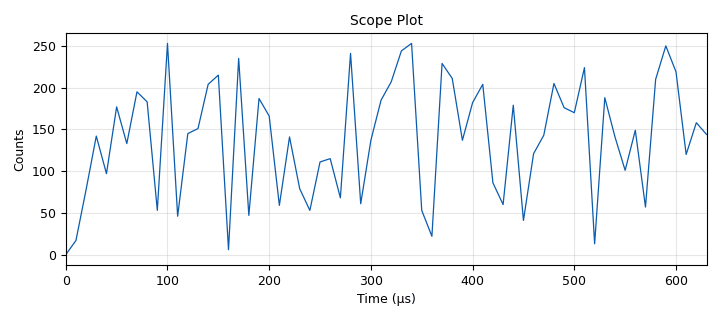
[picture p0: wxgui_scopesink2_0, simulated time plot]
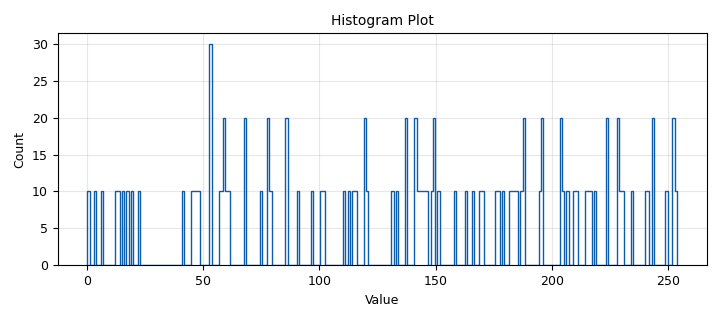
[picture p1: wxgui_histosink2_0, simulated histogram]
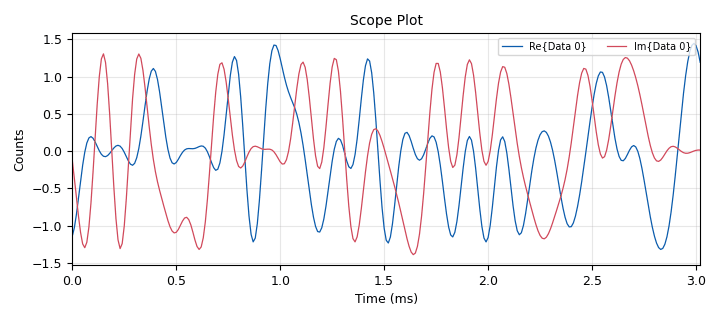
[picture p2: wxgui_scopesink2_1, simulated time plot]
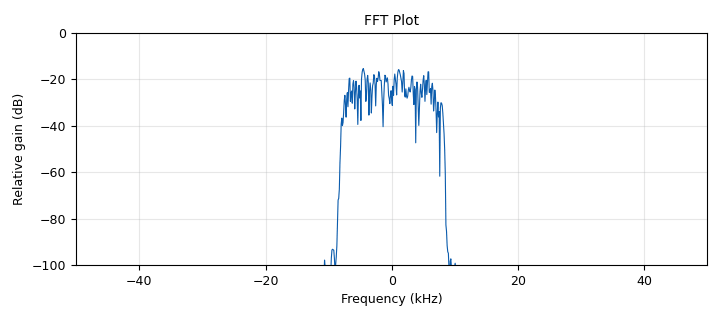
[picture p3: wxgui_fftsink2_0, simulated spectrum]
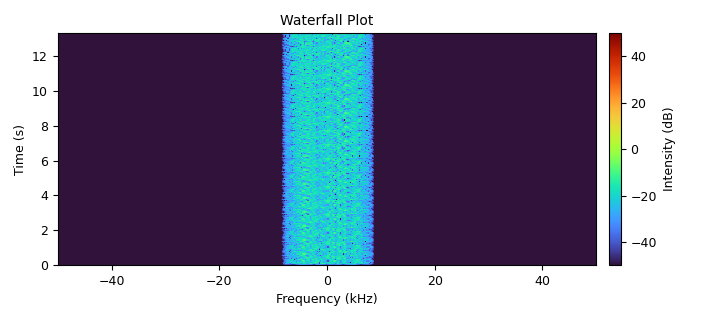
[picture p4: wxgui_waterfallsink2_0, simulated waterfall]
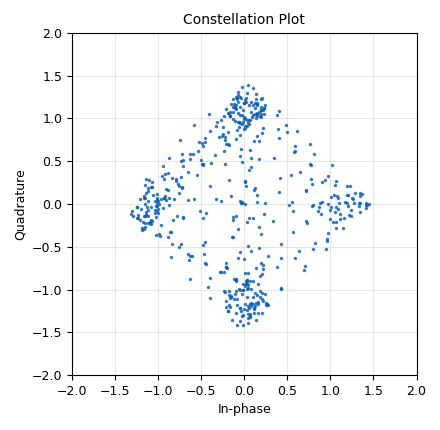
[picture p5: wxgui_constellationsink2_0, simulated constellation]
<?xml version='1.0' encoding='utf-8'?>
<flow_graph>
<block>
<key>options</key>
<param><key>id</key><value>top_block</value></param>
<param><key>generate_options</key><value>wx_gui</value></param>
<param><key>category</key><value>Custom</value></param>
</block>
<block>
<key>variable</key>
<param><key>id</key><value>samp_per_sym</value></param>
<param><key>value</key><value>8</value></param>
</block>
<block>
<key>variable</key>
<param><key>id</key><value>samp_rate</value></param>
<param><key>value</key><value>100e3</value></param>
</block>
<block>
<key>wxgui_scopesink2</key>
<param><key>id</key><value>wxgui_scopesink2_0</value></param>
<param><key>type</key><value>float</value></param>
<param><key>title</key><value>Scope Plot</value></param>
<param><key>samp_rate</key><value>samp_rate</value></param>
<param><key>v_scale</key><value>0</value></param>
<param><key>v_offset</key><value>0</value></param>
<param><key>t_scale</key><value>0</value></param>
<param><key>ac_couple</key><value>True</value></param>
<param><key>xy_mode</key><value>False</value></param>
<param><key>num_inputs</key><value>1</value></param>
<param><key>notebook</key><value>nb,1</value></param>
<param><key>trig_mode</key><value>wxgui.TRIG_MODE_AUTO</value></param>
<param><key>y_axis_label</key><value>Counts</value></param>
</block>
<block>
<key>blocks_uchar_to_float</key>
<param><key>id</key><value>blocks_uchar_to_float_0</value></param>
</block>
<block>
<key>blocks_throttle</key>
<param><key>id</key><value>blocks_throttle_0</value></param>
<param><key>type</key><value>byte</value></param>
<param><key>samples_per_second</key><value>samp_rate</value></param>
</block>
<block>
<key>notebook</key>
<param><key>id</key><value>nb</value></param>
<param><key>style</key><value>wx.NB_TOP</value></param>
<param><key>labels</key><value>['Signal', 'Rand', 'Histo','Scope','Waterfall', 'Const', 'Noise']</value></param>
</block>
<block>
<key>wxgui_histosink2</key>
<param><key>id</key><value>wxgui_histosink2_0</value></param>
<param><key>title</key><value>Histogram Plot</value></param>
<param><key>num_bins</key><value>256</value></param>
<param><key>frame_size</key><value>1000</value></param>
<param><key>notebook</key><value>nb,2</value></param>
</block>
<block>
<key>wxgui_scopesink2</key>
<param><key>id</key><value>wxgui_scopesink2_1</value></param>
<param><key>type</key><value>complex</value></param>
<param><key>title</key><value>Scope Plot</value></param>
<param><key>samp_rate</key><value>samp_rate</value></param>
<param><key>v_scale</key><value>0</value></param>
<param><key>v_offset</key><value>0</value></param>
<param><key>t_scale</key><value>0</value></param>
<param><key>ac_couple</key><value>False</value></param>
<param><key>xy_mode</key><value>False</value></param>
<param><key>num_inputs</key><value>1</value></param>
<param><key>notebook</key><value>nb,3</value></param>
<param><key>trig_mode</key><value>wxgui.TRIG_MODE_FREE</value></param>
<param><key>y_axis_label</key><value>Counts</value></param>
</block>
<block>
<key>wxgui_fftsink2</key>
<param><key>id</key><value>wxgui_fftsink2_0</value></param>
<param><key>type</key><value>complex</value></param>
<param><key>title</key><value>FFT Plot</value></param>
<param><key>samp_rate</key><value>samp_rate</value></param>
<param><key>baseband_freq</key><value>0</value></param>
<param><key>y_per_div</key><value>10</value></param>
<param><key>y_divs</key><value>10</value></param>
<param><key>ref_level</key><value>0</value></param>
<param><key>ref_scale</key><value>2.0</value></param>
<param><key>fft_size</key><value>1024</value></param>
<param><key>fft_rate</key><value>15</value></param>
<param><key>peak_hold</key><value>False</value></param>
<param><key>average</key><value>False</value></param>
<param><key>avg_alpha</key><value>0</value></param>
<param><key>win</key><value>None</value></param>
<param><key>notebook</key><value>nb,0</value></param>
<param><key>freqvar</key><value>None</value></param>
</block>
<block>
<key>wxgui_waterfallsink2</key>
<param><key>id</key><value>wxgui_waterfallsink2_0</value></param>
<param><key>type</key><value>complex</value></param>
<param><key>title</key><value>Waterfall Plot</value></param>
<param><key>samp_rate</key><value>samp_rate</value></param>
<param><key>baseband_freq</key><value>0</value></param>
<param><key>dynamic_range</key><value>100</value></param>
<param><key>ref_level</key><value>50</value></param>
<param><key>ref_scale</key><value>2.0</value></param>
<param><key>fft_size</key><value>512</value></param>
<param><key>fft_rate</key><value>15</value></param>
<param><key>average</key><value>False</value></param>
<param><key>avg_alpha</key><value>0</value></param>
<param><key>win</key><value>None</value></param>
<param><key>notebook</key><value>nb,4</value></param>
<param><key>freqvar</key><value>None</value></param>
</block>
<block>
<key>wxgui_constellationsink2</key>
<param><key>id</key><value>wxgui_constellationsink2_0</value></param>
<param><key>title</key><value>Constellation Plot</value></param>
<param><key>samp_rate</key><value>samp_rate</value></param>
<param><key>frame_rate</key><value>10</value></param>
<param><key>const_size</key><value>2048/4</value></param>
<param><key>M</key><value>4</value></param>
<param><key>theta</key><value>0</value></param>
<param><key>loop_bw</key><value>0.005</value></param>
<param><key>fmax</key><value>0.06</value></param>
<param><key>mu</key><value>0.5</value></param>
<param><key>gain_mu</key><value>0.005</value></param>
<param><key>symbol_rate</key><value>samp_rate/samp_per_sym</value></param>
<param><key>omega_limit</key><value>0.005</value></param>
<param><key>notebook</key><value>nb,5</value></param>
</block>
<block>
<key>analog_random_source_x</key>
<param><key>id</key><value>analog_random_source_x_0</value></param>
<param><key>type</key><value>byte</value></param>
<param><key>min</key><value>0</value></param>
<param><key>max</key><value>256</value></param>
<param><key>num_samps</key><value>100</value></param>
<param><key>repeat</key><value>True</value></param>
</block>
<block>
<key>blocks_throttle</key>
<param><key>id</key><value>blocks_throttle_1</value></param>
<param><key>type</key><value>complex</value></param>
<param><key>samples_per_second</key><value>samp_rate</value></param>
</block>
<block>
<key>blocks_add_xx</key>
<param><key>id</key><value>blocks_add_xx_0</value></param>
<param><key>type</key><value>complex</value></param>
</block>
<block>
<key>analog_noise_source_x</key>
<param><key>id</key><value>analog_noise_source_x_0</value></param>
<param><key>type</key><value>complex</value></param>
<param><key>noise_type</key><value>analog.GR_GAUSSIAN</value></param>
<param><key>amp</key><value>noise</value></param>
<param><key>seed</key><value>0</value></param>
</block>
<block>
<key>wxgui_fftsink2</key>
<param><key>id</key><value>wxgui_fftsink2_1</value></param>
<param><key>type</key><value>complex</value></param>
<param><key>title</key><value>FFT Plot</value></param>
<param><key>samp_rate</key><value>samp_rate</value></param>
<param><key>baseband_freq</key><value>0</value></param>
<param><key>y_per_div</key><value>10</value></param>
<param><key>y_divs</key><value>10</value></param>
<param><key>ref_level</key><value>0</value></param>
<param><key>ref_scale</key><value>2.0</value></param>
<param><key>fft_size</key><value>1024</value></param>
<param><key>fft_rate</key><value>15</value></param>
<param><key>peak_hold</key><value>False</value></param>
<param><key>average</key><value>False</value></param>
<param><key>avg_alpha</key><value>0</value></param>
<param><key>win</key><value>None</value></param>
<param><key>notebook</key><value>nb,6</value></param>
<param><key>freqvar</key><value>None</value></param>
</block>
<block>
<key>blocks_complex_to_mag</key>
<param><key>id</key><value>blocks_complex_to_mag_0</value></param>
</block>
<block>
<key>variable_slider</key>
<param><key>id</key><value>noise</value></param>
<param><key>label</key><value>Noise</value></param>
<param><key>value</key><value>0</value></param>
<param><key>min</key><value>0</value></param>
<param><key>max</key><value>1</value></param>
<param><key>num_steps</key><value>100</value></param>
<param><key>style</key><value>wx.SL_HORIZONTAL</value></param>
<param><key>converver</key><value>float_converter</value></param>
</block>
<block>
<key>digital_dxpsk_mod</key>
<param><key>id</key><value>digital_dxpsk_mod_0</value></param>
<param><key>type</key><value>dqpsk</value></param>
<param><key>samples_per_symbol</key><value>samp_per_sym</value></param>
<param><key>excess_bw</key><value>0.35</value></param>
<param><key>mod_code</key><value>"gray"</value></param>
<param><key>verbose</key><value>True</value></param>
<param><key>log</key><value>False</value></param>
</block>
<block>
<key>wxgui_histosink2</key>
<param><key>id</key><value>wxgui_histosink2_1</value></param>
<param><key>title</key><value>Histogram Plot</value></param>
<param><key>num_bins</key><value>256</value></param>
<param><key>frame_size</key><value>100000</value></param>
</block>
<connection><source_block_id>analog_random_source_x_0</source_block_id><sink_block_id>blocks_throttle_0</sink_block_id><source_key>0</source_key><sink_key>0</sink_key></connection>
<connection><source_block_id>analog_random_source_x_0</source_block_id><sink_block_id>digital_dxpsk_mod_0</sink_block_id><source_key>0</source_key><sink_key>0</sink_key></connection>
<connection><source_block_id>blocks_throttle_1</source_block_id><sink_block_id>wxgui_constellationsink2_0</sink_block_id><source_key>0</source_key><sink_key>0</sink_key></connection>
<connection><source_block_id>blocks_throttle_1</source_block_id><sink_block_id>wxgui_scopesink2_1</sink_block_id><source_key>0</source_key><sink_key>0</sink_key></connection>
<connection><source_block_id>blocks_add_xx_0</source_block_id><sink_block_id>blocks_throttle_1</sink_block_id><source_key>0</source_key><sink_key>0</sink_key></connection>
<connection><source_block_id>digital_dxpsk_mod_0</source_block_id><sink_block_id>blocks_add_xx_0</sink_block_id><source_key>0</source_key><sink_key>0</sink_key></connection>
<connection><source_block_id>blocks_uchar_to_float_0</source_block_id><sink_block_id>wxgui_scopesink2_0</sink_block_id><source_key>0</source_key><sink_key>0</sink_key></connection>
<connection><source_block_id>blocks_uchar_to_float_0</source_block_id><sink_block_id>wxgui_histosink2_0</sink_block_id><source_key>0</source_key><sink_key>0</sink_key></connection>
<connection><source_block_id>blocks_throttle_0</source_block_id><sink_block_id>blocks_uchar_to_float_0</sink_block_id><source_key>0</source_key><sink_key>0</sink_key></connection>
<connection><source_block_id>blocks_throttle_1</source_block_id><sink_block_id>wxgui_waterfallsink2_0</sink_block_id><source_key>0</source_key><sink_key>0</sink_key></connection>
<connection><source_block_id>blocks_throttle_1</source_block_id><sink_block_id>wxgui_fftsink2_0</sink_block_id><source_key>0</source_key><sink_key>0</sink_key></connection>
<connection><source_block_id>analog_noise_source_x_0</source_block_id><sink_block_id>wxgui_fftsink2_1</sink_block_id><source_key>0</source_key><sink_key>0</sink_key></connection>
<connection><source_block_id>analog_noise_source_x_0</source_block_id><sink_block_id>blocks_add_xx_0</sink_block_id><source_key>0</source_key><sink_key>1</sink_key></connection>
<connection><source_block_id>analog_noise_source_x_0</source_block_id><sink_block_id>blocks_complex_to_mag_0</sink_block_id><source_key>0</source_key><sink_key>0</sink_key></connection>
<connection><source_block_id>blocks_complex_to_mag_0</source_block_id><sink_block_id>wxgui_histosink2_1</sink_block_id><source_key>0</source_key><sink_key>0</sink_key></connection>
</flow_graph>
